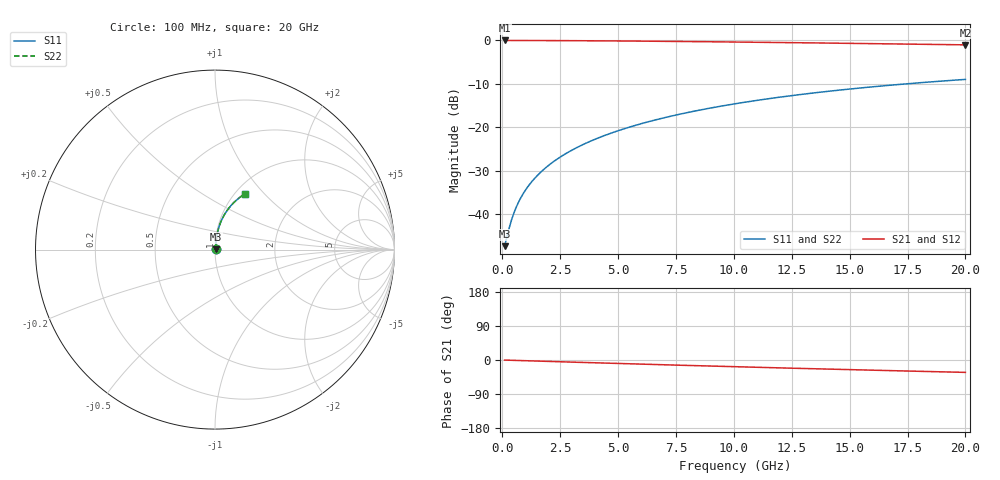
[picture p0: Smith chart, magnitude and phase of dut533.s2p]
! Touchstone file exported from HFSS 2024.1.0
!  File:  C:/UserFiles/LocalFiles/RDL_TSV_Batchsim/temp_RDL_bottom_533_1779688612.aedt
!  Generated:  01:59:18 PM May 25, 2026
!  Design:  RDL_bottom
!  Project:  temp_RDL_bottom_533_1779688612
!  Setup:  Setup1
!  Solution:  Sweep
! Variables:
!  dtsv = 10.80580581um
!  hbump = 3um
!  htsv = 98.83um
!  ldown = 407.79um
!  lrdl = 100um
!  p = 40
!  p1 = 48.92um
!  rhole = 1um
!  t = 450um
!  tdown = 2.28um
!  trdl = 3.915915916um
!  wdown = 17.61um
!  wrdl = 20um
# GHz S MA R 50.000000
! Terminal data exported
! Port[1] = RDL1_T1
! Port[2] = RDL1_T2
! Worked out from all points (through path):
!   200 points, 100 MHz to 20 GHz, reference 50 ohm
!   highest |S21| = -0.03 dB at 100 MHz (marker M1); lowest = -1.0 dB at 20 GHz (marker M2)
!   group delay of S21, straight-line fit = 4.53 ps
!   lowest |S11| = -47.3 dB at 100 MHz (marker M3), VSWR 1.01, Z = 50.4 + j0.195 ohm
!   |S11| at or under -10 dB: start of sweep to 17.45 GHz
!   |S22| runs from -47.3 to -9.0 dB; largest |S21 - S12| = 2.3e-15
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0.1  0.004316 26.6  0.9961 -0.2  0.9961 -0.2  0.004316 26.6
! Gamma 0 0 0 0
! Port Impedance 50 0 50 0
0.3  0.007006 55.0  0.996 -0.6  0.996 -0.6  0.007006 55.0
0.4  0.008652 61.5  0.9958 -0.8  0.9958 -0.8  0.008652 61.5
0.5  0.01035 65.7  0.9957 -1.0  0.9957 -1.0  0.01035 65.7
0.6  0.01207 68.7  0.9955 -1.2  0.9955 -1.2  0.01207 68.7
0.7  0.0138 71.0  0.9954 -1.3  0.9954 -1.3  0.0138 71.0
0.9  0.01727 74.1  0.9951 -1.7  0.9951 -1.7  0.01727 74.1
1.2  0.0225 77.0  0.9946 -2.3  0.9946 -2.3  0.0225 77.0
1.4  0.026 78.3  0.9943 -2.6  0.9943 -2.6  0.026 78.3
1.7  0.03129 79.7  0.9938 -3.2  0.9938 -3.2  0.03129 79.7
2.2  0.04019 81.0  0.9927 -4.1  0.9927 -4.1  0.04019 81.0
2.8  0.05098 81.9  0.9912 -5.2  0.9912 -5.2  0.05098 81.9
3.5  0.06372 82.2  0.9891 -6.5  0.9891 -6.5  0.06372 82.2
4.2  0.0766 82.1  0.9866 -7.7  0.9866 -7.7  0.0766 82.1
5  0.09146 81.8  0.9834 -9.2  0.9834 -9.2  0.09146 81.8
5.9  0.1083 81.1  0.9792 -10.7  0.9792 -10.7  0.1083 81.1
6.8  0.1253 80.2  0.9747 -12.3  0.9747 -12.3  0.1253 80.2
8.4  0.1556 78.3  0.9659 -15.0  0.9659 -15.0  0.1556 78.3
10.1  0.1875 76.0  0.9557 -17.8  0.9557 -17.8  0.1875 76.0
13.4  0.2477 71.2  0.9341 -23.0  0.9341 -23.0  0.2477 71.2
16.7  0.304 66.3  0.9109 -28.0  0.9109 -28.0  0.304 66.3
20  0.3556 61.5  0.8869 -32.7  0.8869 -32.7  0.3557 61.5
